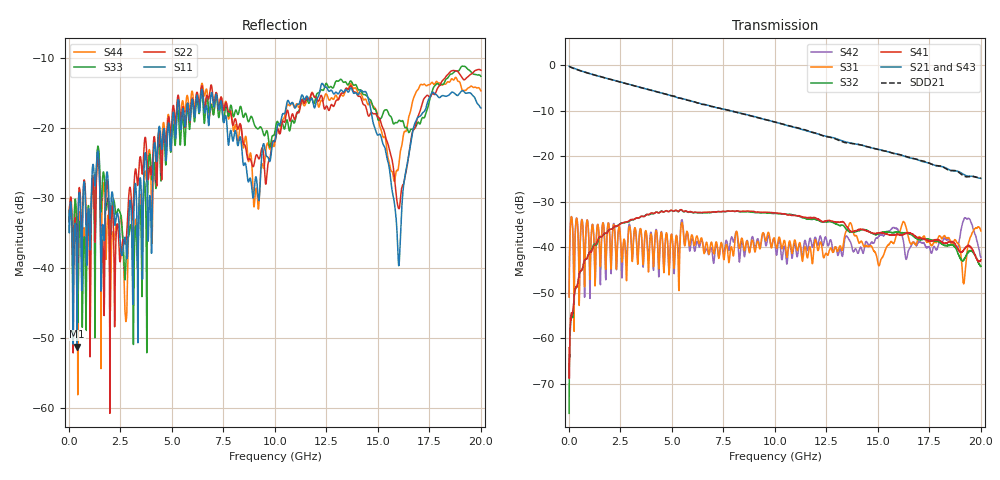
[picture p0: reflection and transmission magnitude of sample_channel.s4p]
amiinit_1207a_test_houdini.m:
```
%% test amiinit_1207a

%% setup channel parameters
bit_rate = 14.5e9;         %bits-per-second
bit_time = 1/bit_rate;   % second
samples_per_bit = 64;  
sampling_rate = bit_rate * samples_per_bit; 
sample_step = bit_time / samples_per_bit;


% specify the dll file path and name:
dllpath = 'C:\Users\Jianhua\Documents\MATLAB\_develop\_chasim\HILDA_AMI_5.0\ti_houdini_40nm_v0p6\rx_ibis_ami';
         % C:\Users\Jianhua\Documents\MATLAB\_develop\_chasim\HILDA_AMI_5.0\ti_houdini_40nm_v0p6\rx_ibis_ami
dllfilename = 'libhoudini_40nm_rx.dll';

dllfile = fullfile(dllpath, dllfilename);

dllfileexist = exist(dllfile, 'file');

if dllfileexist == 2
    msgbox('Info: dll DOES exist!');
else
     msgbox('Error: dll does NOT exist!');   
end

% check that the header file exists
addpath(dllpath)
%[notfound,warnmsg] = loadlibrary(dllfile);

pausehere = 1;
% get the impulse response of the channel, including sample_interval and bit_time
addpath('C:\Users\Jianhua\Documents\MATLAB\_develop\_jz_SNP_importer');

s4ppath = 'C:\Users\Jianhua\Documents\MATLAB\_develop\_chasim\LSI_OPUS_SERDES_16GFC\data\Channel_Models';
s4pname = 'sample_channel.s4p';
s4pfile = fullfile(s4ppath, s4pname);
s4pstruct = snpimport(s4pfile);
s4pstruct0 = snpinsertdc(s4pstruct);

flist = s4pstruct0.freqlist;
nfp = length(flist);
s12 = reshape( s4pstruct0.data(1,2,:), nfp, 1) ;

fstep = 10e6;

[tlist, impresi, tstep, tspan, err, errmsg] = spimpres(flist, s12);

tinterp = 0:sample_step:(5000*sample_step);
[channel_impres, e2, em2] = wavesample(tlist, impresi, tinterp);
plot(tinterp, channel_impres,'--rs', tlist, impresi,'-.bo');
title('Impulse Response');
xlabel('Time');
ylabel('Impulse');
legend('Whatever');
grid on;


pausehere = 1;

%  get the ami parameters
amiFilename = 'houdini_40nm_rx.ami';
amiFile = fullfile(dllpath, amiFilename);

amiparin = getAMI( amiFile );

% calls the amiinit function: 
%[ impreso, amiparoout, mhandle, initmsg, err, errmsg ] = amiinit_1207a(dllfile, impresi', tstep, 32*tstep, amiparin);

pausehere=1;

[ impreso, amiparoout, mhandle, initmsg, err, errmsg ] = amiinit_1207a(dllfile, channel_impres, sample_step, bit_time, amiparin);

plot(tlist, impresi,'--rs', tlist, impreso,'-.bo');
title('Impulse Response');
xlabel('Time');
ylabel('Impulse');
legend('Whatever');
grid on;



pausehere=1;
%
```
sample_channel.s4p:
! FILE: sample_channel.s4p
# MHz S MA R 50.00
! FREQ  S11  S12  S13  S14
!  S21  S22  S23  S24
!  S31  S32  S33  S34
!  S41  S42  S43  S44
!  MAG  ANG  MAG  ANG  MAG  ANG  MAG  ANG
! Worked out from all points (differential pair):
!   2000 points, 10 MHz to 20 GHz, reference 50 ohm
!   strongest paths, dB at 10 MHz, 5.01 GHz, 10.01 GHz, 15.01 GHz, 20 GHz:
!     S21: -0.2, -6.7, -12.5, -18.4, -24.8
!     S43: -0.3, -6.7, -12.5, -18.6, -24.8
!     S41: -62.1, -31.9, -32.4, -36.8, -42.7
!     S32: -76.5, -31.9, -32.5, -37.0, -44.2
!     S31: -50.9, -37.6, -38.6, -43.6, -36.4
!     S42: -50.8, -37.7, -39.5, -37.8, -42.2
!   taken as a pair (ports 1,3 in; 2,4 out), SDD21 dB: -0.2, -6.7, -12.5, -18.5, -24.8
!   lowest |S11| = -51.3 dB at 400 MHz (marker M1), VSWR 1.01, Z = 50 - j0.269 ohm
!   |S11| at or under -10 dB: start of sweep to end of sweep
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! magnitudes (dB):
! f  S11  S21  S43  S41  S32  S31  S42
! 10 MHz  -31.8  -0.2  -0.3  -62.1  -76.5  -50.9  -50.8
! 400 MHz  -51.3  -0.9  -1.0  -48.5  -48.5  -34.0  -34.0
! 20 GHz  -17.2  -24.8  -24.8  -42.7  -44.2  -36.4  -42.2
